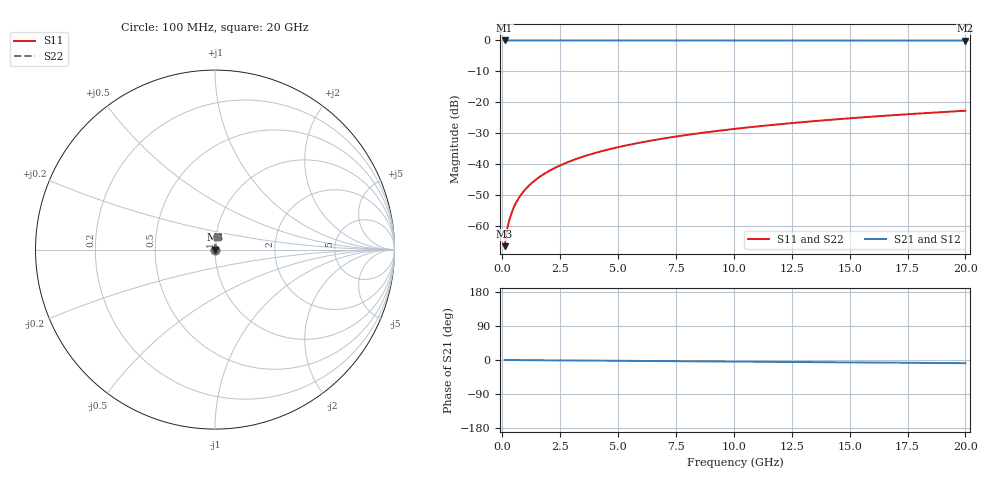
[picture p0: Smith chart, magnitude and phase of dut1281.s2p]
! Touchstone file exported from HFSS 2026.1.0
!  File:  C:/ffzhzh/LocalFiles/Ansys_Project_Files/temp_train_TSV_1281_1783194328_55132.aedt
!  Generated:  03:47:23 AM Jul  5, 2026
!  Design:  TSV
!  Project:  temp_train_TSV_1281_1783194328_55132
! Variables:
!  h_bsmrdl = 2um
!  h_ox = 20um
!  h_rdl = 5um
!  h_sub = 66.27um
!  h_tmrdl = 5um
!  h_tsv = 66.27um
!  h_via = 3um
!  l_bsmrdl = 300um
!  l_sub = 412.08um
!  l_tmrdl = 200um
!  m_sub = 200um
!  pitch = 52.83um
!  r_tsv = 6.04um
!  s_tmrdl = 10um
!  w_bsmrdl = 18um
!  w_sub = 500um
!  w_tmrdl = 12um
!  x_tsv_center1 = 206um
!  x_tsv_center2 = 524um
!  x_tsv_center3 = 736um
!  x_tsv_center4 = 1054um
!  x_tsv_center5 = 1266um
!  x_tsv_center6 = 1584um
# GHz S MA R 50.000000
! Terminal data exported
! Port[1] = TSV1_1_T1
! Port[2] = TSV1_1_T2
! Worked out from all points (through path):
!   200 points, 100 MHz to 20 GHz, reference 50 ohm
!   highest |S21| = 0.00 dB at 100 MHz (marker M1); lowest = 0.0 dB at 20 GHz (marker M2)
!   group delay of S21, straight-line fit = 1.16 ps
!   lowest |S11| = -66.5 dB at 100 MHz (marker M3), VSWR 1.00, Z = 50 + j0.0404 ohm
!   |S11| at or under -10 dB: start of sweep to end of sweep
!   |S22| runs from -66.5 to -22.7 dB; largest |S21 - S12| = 4e-15
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0.1  0.0004706 59.0  0.9998 -0.0  0.9998 -0.0  0.0004706 59.0
! Gamma 0 0 0 0
! Port Impedance 50 0 50 0
0.2  0.0008437 72.7  0.9997 -0.1  0.9997 -0.1  0.0008437 72.7
0.3  0.001233 77.6  0.9997 -0.1  0.9997 -0.1  0.001233 77.6
0.4  0.001624 79.9  0.9997 -0.2  0.9997 -0.2  0.001624 79.9
0.5  0.002013 81.3  0.9997 -0.2  0.9997 -0.2  0.002013 81.3
0.6  0.002399 82.2  0.9997 -0.3  0.9997 -0.3  0.002399 82.2
0.7  0.002782 82.9  0.9997 -0.3  0.9997 -0.3  0.002782 82.9
0.8  0.003163 83.3  0.9996 -0.3  0.9996 -0.3  0.003163 83.3
1  0.00392 84.0  0.9996 -0.4  0.9996 -0.4  0.00392 84.0
1.4  0.005423 84.8  0.9995 -0.6  0.9995 -0.6  0.005423 84.8
1.7  0.006546 85.2  0.9995 -0.7  0.9995 -0.7  0.006546 85.2
2  0.007668 85.4  0.9995 -0.9  0.9995 -0.9  0.007668 85.4
2.7  0.01028 85.7  0.9994 -1.2  0.9994 -1.2  0.01028 85.7
3.5  0.01325 85.7  0.9993 -1.5  0.9993 -1.5  0.01325 85.7
4.2  0.01583 85.7  0.9992 -1.8  0.9992 -1.8  0.01583 85.7
5  0.01878 85.5  0.9991 -2.1  0.9991 -2.1  0.01878 85.5
6.8  0.02537 85.1  0.9988 -2.9  0.9988 -2.9  0.02537 85.1
8.3  0.03084 84.6  0.9985 -3.5  0.9985 -3.5  0.03084 84.6
10.1  0.03738 84.1  0.9982 -4.3  0.9982 -4.3  0.03738 84.1
13.4  0.04932 82.9  0.9975 -5.6  0.9975 -5.6  0.04932 82.9
16.7  0.06119 81.7  0.9967 -7.0  0.9967 -7.0  0.06119 81.7
20  0.07297 80.4  0.9958 -8.4  0.9958 -8.4  0.07297 80.4
